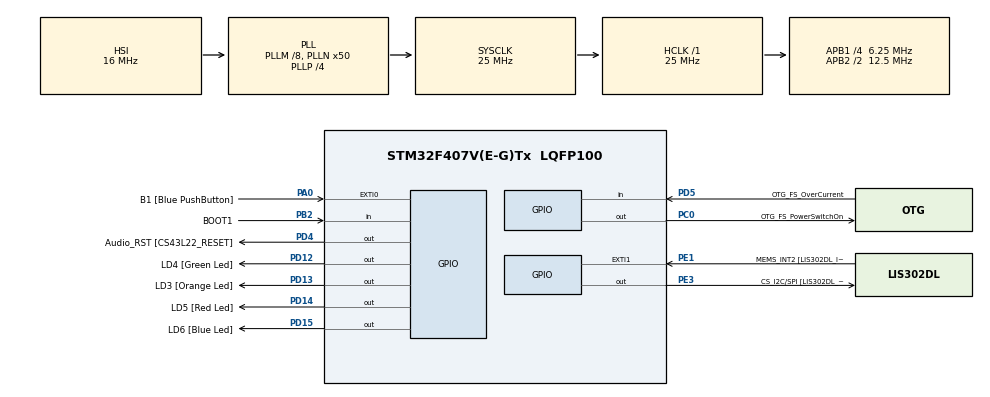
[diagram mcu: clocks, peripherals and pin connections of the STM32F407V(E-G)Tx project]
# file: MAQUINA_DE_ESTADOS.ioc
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Mcu.Family=STM32F4
Mcu.Name=STM32F407V(E-G)Tx
Mcu.Package=LQFP100
NVIC.PriorityGroup=NVIC_PRIORITYGROUP_0
PA0-WKUP.GPIO_Label=B1 [Blue PushButton]
PA0-WKUP.Signal=GPXTI0
PA10.GPIO_Label=OTG_FS_ID
PA10.GPIO_Mode=GPIO_MODE_AF_PP
PA10.GPIO_PuPd=GPIO_NOPULL
PA10.GPIO_Speed=GPIO_SPEED_FREQ_LOW
PA10.Signal=USB_OTG_FS_ID
PA11.GPIO_Label=OTG_FS_DM
PA11.GPIO_Mode=GPIO_MODE_AF_PP
PA11.GPIO_PuPd=GPIO_NOPULL
PA11.GPIO_Speed=GPIO_SPEED_FREQ_LOW
PA11.Signal=USB_OTG_FS_DM
PA12.GPIO_Label=OTG_FS_DP
PA12.GPIO_Mode=GPIO_MODE_AF_PP
PA12.GPIO_PuPd=GPIO_NOPULL
PA12.GPIO_Speed=GPIO_SPEED_FREQ_LOW
PA12.Signal=USB_OTG_FS_DP
PA13.GPIO_Label=SWDIO
PA13.Signal=SYS_JTMS-SWDIO
PA14.GPIO_Label=SWCLK
PA14.Signal=SYS_JTCK-SWCLK
PA4.GPIO_Label=I2S3_WS [CS43L22_LRCK]
PA4.GPIO_Mode=GPIO_MODE_AF_PP
PA4.GPIO_PuPd=GPIO_NOPULL
PA4.GPIO_Speed=GPIO_SPEED_FREQ_LOW
PA4.Signal=I2S3_WS
PA5.GPIO_Label=SPI1_SCK [LIS302DL_SCL/SPC]
PA5.GPIO_Mode=GPIO_MODE_AF_PP
PA5.GPIO_PuPd=GPIO_NOPULL
PA5.GPIO_Speed=GPIO_SPEED_FREQ_LOW
PA5.Signal=SPI1_SCK
PA6.GPIO_Label=SPI1_MISO [LIS302DL_SDO]
PA6.GPIO_Mode=GPIO_MODE_AF_PP
PA6.GPIO_PuPd=GPIO_NOPULL
PA6.GPIO_Speed=GPIO_SPEED_FREQ_LOW
PA6.Signal=SPI1_MISO
PA7.GPIO_Label=SPI1_MOSI [LIS302DL_SDA/SDI/SDO]
PA7.GPIO_Mode=GPIO_MODE_AF_PP
PA7.GPIO_PuPd=GPIO_NOPULL
PA7.GPIO_Speed=GPIO_SPEED_FREQ_LOW
PA7.Signal=SPI1_MOSI
PA9.GPIO_Label=VBUS_FS
PA9.GPIO_Mode=GPIO_MODE_INPUT
PA9.GPIO_PuPd=GPIO_NOPULL
PA9.Signal=USB_OTG_FS_VBUS
PB10.GPIO_Label=CLK_IN [MP45DT02_CLK]
PB10.GPIO_Mode=GPIO_MODE_AF_PP
PB10.GPIO_PuPd=GPIO_NOPULL
PB10.GPIO_Speed=GPIO_SPEED_FREQ_LOW
PB10.Signal=I2S2_CK
PB2.GPIO_Label=BOOT1
PB2.GPIO_Mode=GPIO_MODE_INPUT
PB2.GPIO_PuPd=GPIO_NOPULL
PB2.Signal=GPIO_Input
PB3.GPIO_Label=SWO
PB3.Signal=SYS_JTDO-SWO
PB6.GPIO_Label=Audio_SCL [CS43L22_SCL]
PB6.GPIO_Mode=GPIO_MODE_AF_OD
PB6.GPIO_PuPd=GPIO_NOPULL
PB6.GPIO_Speed=GPIO_SPEED_FREQ_LOW
PB6.Signal=I2C1_SCL
PB9.GPIO_Label=Audio_SDA [CS43L22_SDA]
PB9.GPIO_Mode=GPIO_MODE_AF_OD
PB9.GPIO_PuPd=GPIO_NOPULL
PB9.GPIO_Speed=GPIO_SPEED_FREQ_LOW
PB9.Signal=I2C1_SDA
PC0.GPIO_Label=OTG_FS_PowerSwitchOn
PC0.GPIO_PuPd=GPIO_NOPULL
PC0.GPIO_Speed=GPIO_SPEED_FREQ_LOW
PC0.PinState=GPIO_PIN_SET
PC0.Signal=GPIO_Output
PC10.GPIO_Label=I2S3_SCK [CS43L22_SCLK]
PC10.GPIO_Mode=GPIO_MODE_AF_PP
PC10.GPIO_PuPd=GPIO_NOPULL
PC10.GPIO_Speed=GPIO_SPEED_FREQ_LOW
PC10.Signal=I2S3_CK
PC12.GPIO_Label=I2S3_SD [CS43L22_SDIN]
PC12.GPIO_Mode=GPIO_MODE_AF_PP
PC12.GPIO_PuPd=GPIO_NOPULL
PC12.GPIO_Speed=GPIO_SPEED_FREQ_LOW
PC12.Signal=I2S3_SD
PC14-OSC32_IN.GPIO_Label=PC14-OSC32_IN
PC14-OSC32_IN.Signal=RCC_OSC32_IN
PC15-OSC32_OUT.GPIO_Label=PC15-OSC32_OUT
PC15-OSC32_OUT.Signal=RCC_OSC32_OUT
PC3.GPIO_Label=PDM_OUT [MP45DT02_DOUT]
PC3.GPIO_Mode=GPIO_MODE_AF_PP
PC3.GPIO_PuPd=GPIO_NOPULL
PC3.GPIO_Speed=GPIO_SPEED_FREQ_LOW
PC3.Signal=I2S2_SD
PC7.GPIO_Label=I2S3_MCK [CS43L22_MCLK]
PC7.GPIO_Mode=GPIO_MODE_AF_PP
PC7.GPIO_PuPd=GPIO_NOPULL
PC7.GPIO_Speed=GPIO_SPEED_FREQ_LOW
PC7.Signal=I2S3_MCK
PD12.GPIO_Label=LD4 [Green Led]
PD12.GPIO_PuPd=GPIO_NOPULL
PD12.GPIO_Speed=GPIO_SPEED_FREQ_LOW
PD12.Signal=GPIO_Output
PD13.GPIO_Label=LD3 [Orange Led]
PD13.GPIO_PuPd=GPIO_NOPULL
PD13.GPIO_Speed=GPIO_SPEED_FREQ_LOW
PD13.Signal=GPIO_Output
PD14.GPIO_Label=LD5 [Red Led]
PD14.GPIO_PuPd=GPIO_NOPULL
PD14.GPIO_Speed=GPIO_SPEED_FREQ_LOW
PD14.Signal=GPIO_Output
PD15.GPIO_Label=LD6 [Blue Led]
PD15.GPIO_PuPd=GPIO_NOPULL
PD15.GPIO_Speed=GPIO_SPEED_FREQ_LOW
PD15.Signal=GPIO_Output
PD4.GPIO_Label=Audio_RST [CS43L22_RESET]
PD4.GPIO_PuPd=GPIO_NOPULL
PD4.GPIO_Speed=GPIO_SPEED_FREQ_LOW
PD4.Signal=GPIO_Output
PD5.GPIO_Label=OTG_FS_OverCurrent
PD5.GPIO_Mode=GPIO_MODE_INPUT
PD5.GPIO_PuPd=GPIO_NOPULL
PD5.Signal=GPIO_Input
PE1.GPIO_Label=MEMS_INT2 [LIS302DL_INT2]
PE1.GPIO_ModeDefaultEXTI=GPIO_MODE_EVT_RISING
PE1.GPIO_PuPd=GPIO_NOPULL
PE1.Signal=GPXTI1
PE3.GPIO_Label=CS_I2C/SPI [LIS302DL_CS_I2C/SPI]
PE3.GPIO_PuPd=GPIO_NOPULL
PE3.GPIO_Speed=GPIO_SPEED_FREQ_LOW
PE3.Signal=GPIO_Output
PH0-OSC_IN.GPIO_Label=PH0-OSC_IN
PH0-OSC_IN.Signal=RCC_OSC_IN
PH1-OSC_OUT.GPIO_Label=PH1-OSC_OUT
PH1-OSC_OUT.Signal=RCC_OSC_OUT
ProjectManager.HeapSize=0x200
ProjectManager.StackSize=0x400
ProjectManager.TargetToolchain=EWARM V8.50
RCC.48MHZClocksFreq_Value=14285714.285714285
RCC.AHBFreq_Value=25000000
RCC.APB1CLKDivider=RCC_HCLK_DIV4
RCC.APB1Freq_Value=6250000
RCC.APB1TimFreq_Value=12500000
RCC.APB2CLKDivider=RCC_HCLK_DIV2
RCC.APB2Freq_Value=12500000
RCC.APB2TimFreq_Value=25000000
RCC.CortexFreq_Value=25000000
RCC.HCLKFreq_Value=25000000
RCC.HSE_VALUE=8000000
RCC.HSI_VALUE=16000000
RCC.LSE_VALUE=32768
RCC.PLLM=8
RCC.PLLN=50
RCC.PLLP=RCC_PLLP_DIV4
RCC.PLLQ=7
RCC.SYSCLKFreq_VALUE=25000000
RCC.SYSCLKSource=RCC_SYSCLKSOURCE_PLLCLK
RCC.VCOOutputFreq_Value=100000000
board=STM32F407G-DISC1

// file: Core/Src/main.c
/* USER CODE BEGIN Header */
/**
  ******************************************************************************
  * @file           : main.c
  * @brief          : Main program body
  ******************************************************************************
  * @attention
  *
  * Copyright (c) 2026 STMicroelectronics.
  * All rights reserved.
  *
  * This software is licensed under terms that can be found in the LICENSE file
  * in the root directory of this software component.
  * If no LICENSE file comes with this software, it is provided AS-IS.
  *
  ******************************************************************************
  */
/* USER CODE END Header */
#include "main.h"

/* USER CODE BEGIN Includes */

// INCLUYO libreria para números aleatorios
#include <stdlib.h>

/* USER CODE END Includes */

/* USER CODE BEGIN PV */

// MEMORIA debe ser una matriz de 9x5
// donde en los bordes tengo ceros, esto es para simplificar la logica de END_GAME

//		C0	C1	C2	C3	C4	C5
//	F1	0	x	x	x	x	0
//	F2	0	x	x	x	x	0
//	F3	0	x	x	x	x	0
//	F4	0	x	x	x	x	0
//	F5	0	x	x	x	x	0
//	F6	0	x	x	x	x	0
//	F7	0	x	x	x	x	0
//	F8	0	x	x	x	x	0
//	F9	0	0	0	0	0	0

//	ESTADO elije en que estado de la maquina esta
//	0	menu
//	1	P1 y P2
//	2	TRANSICION
//	3	CPU
//	4	END GAME
//	5	TRANSICION_END_GAME
uint8_t ESTADO = 0;

// Si hay ganador
//GANA = 0 NO FIN
//GANA = 1 P1
//GANA = 2 P2 O CPU
//GANA = 3 EMPATE
uint8_t GANA = 0;

// Para MEMORIA y LEDs
uint8_t FILA = 1;
uint8_t COLUMNA;

//	QUIEN JUEGA, solo define el color de la ficha
//	0	P1
//	1	P2
bool TURNO_JUGADOR = 0;
// CPU no tiene un turno, es un cambio a otro estado

// si CPU = 0 juega P2; si CPU = 1, juega CPU
bool CPU = 0;

// CPU_DIFF elijo dificultad de CPU
//	1	random
//	2	facil
//	3	dificil???
uint8_t CPU_DIFF = 1;

// SE crea un numero aleatorio para DIFF 1 de CPU
uint8_t ALEATORIO;

// Por ahora color es un integer, luego vemos
uint8_t COLOR_P1 = 0;
uint8_t COLOR_P2 = 1;

// BORRAR DESPUES ES DE MODULO TECLADO
uint8_t Teclado_Accionado = 16;
uint8_t teclado_column = 0;

/* USER CODE END PV */

void SystemClock_Config(void);
static void MX_GPIO_Init(void);
/* USER CODE BEGIN PFP */
void MENU(void);
void PLAYER(void);
void TRANSICION(void);
void INICIO_JUEGO(void);
void CPU(void);
void END_GAME(void);
void JUGADA_ACEPTADA(void);
void TRANSICION_END_GAME(void);

/* USER CODE END PFP */

int main(void)
{

  /* MCU Configuration--------------------------------------------------------*/

  /* Reset of all peripherals, Initializes the Flash interface and the Systick. */
  HAL_Init();

  /* Configure the system clock */
  SystemClock_Config();

  /* Initialize all configured peripherals */
  MX_GPIO_Init();
  /* USER CODE BEGIN 2 */

  TECLADO_INTERRUPT_FLAG = 1;

  /* USER CODE END 2 */

  /* Infinite loop */
  while (1)
  {

    /* USER CODE BEGIN 3 */
	  switch (ESTADO)
	  {
	      case 0:
	          MENU();
	          break;

	      case 1:
	          PLAYER();
	          break;

	      case 2:
	          TRANSICION();
	          break;

	      case 3:
	          CPU();
	          break;

	      case 4:
	          END_GAME();
	          break;

	      case 5:
	          TRANSICION_END_GAME();
	          break;
	  }

  }
  /* USER CODE END 3 */
}

void SystemClock_Config(void)
{
  RCC_OscInitTypeDef RCC_OscInitStruct = {0};
  RCC_ClkInitTypeDef RCC_ClkInitStruct = {0};

  /** Configure the main internal regulator output voltage
  */
  __HAL_RCC_PWR_CLK_ENABLE();
  __HAL_PWR_VOLTAGESCALING_CONFIG(PWR_REGULATOR_VOLTAGE_SCALE1);

  /** Initializes the RCC Oscillators according to the specified parameters
  * in the RCC_OscInitTypeDef structure.
  */
  RCC_OscInitStruct.OscillatorType = RCC_OSCILLATORTYPE_HSI;
  RCC_OscInitStruct.HSIState = RCC_HSI_ON;
  RCC_OscInitStruct.HSICalibrationValue = RCC_HSICALIBRATION_DEFAULT;
  RCC_OscInitStruct.PLL.PLLState = RCC_PLL_ON;
  RCC_OscInitStruct.PLL.PLLSource = RCC_PLLSOURCE_HSI;
  RCC_OscInitStruct.PLL.PLLM = 8;
  RCC_OscInitStruct.PLL.PLLN = 50;
  RCC_OscInitStruct.PLL.PLLP = RCC_PLLP_DIV4;
  RCC_OscInitStruct.PLL.PLLQ = 7;
  if (HAL_RCC_OscConfig(&RCC_OscInitStruct) != HAL_OK)
  {
    Error_Handler();
  }

  /** Initializes the CPU, AHB and APB buses clocks
  */
  RCC_ClkInitStruct.ClockType = RCC_CLOCKTYPE_HCLK|RCC_CLOCKTYPE_SYSCLK
                              |RCC_CLOCKTYPE_PCLK1|RCC_CLOCKTYPE_PCLK2;
  RCC_ClkInitStruct.SYSCLKSource = RCC_SYSCLKSOURCE_PLLCLK;
  RCC_ClkInitStruct.AHBCLKDivider = RCC_SYSCLK_DIV1;
  RCC_ClkInitStruct.APB1CLKDivider = RCC_HCLK_DIV4;
  RCC_ClkInitStruct.APB2CLKDivider = RCC_HCLK_DIV2;

  if (HAL_RCC_ClockConfig(&RCC_ClkInitStruct, FLASH_LATENCY_0) != HAL_OK)
  {
    Error_Handler();
  }
}

static void MX_GPIO_Init(void)
{
  GPIO_InitTypeDef GPIO_InitStruct = {0};

  /* GPIO Ports Clock Enable */
  __HAL_RCC_GPIOE_CLK_ENABLE();
  __HAL_RCC_GPIOC_CLK_ENABLE();
  __HAL_RCC_GPIOH_CLK_ENABLE();
  __HAL_RCC_GPIOA_CLK_ENABLE();
  __HAL_RCC_GPIOB_CLK_ENABLE();
  __HAL_RCC_GPIOD_CLK_ENABLE();

  /*Configure GPIO pin Output Level */
  HAL_GPIO_WritePin(CS_I2C_SPI_GPIO_Port, CS_I2C_SPI_Pin, GPIO_PIN_RESET);

  /*Configure GPIO pin Output Level */
  HAL_GPIO_WritePin(OTG_FS_PowerSwitchOn_GPIO_Port, OTG_FS_PowerSwitchOn_Pin, GPIO_PIN_SET);

  /*Configure GPIO pin Output Level */
  HAL_GPIO_WritePin(GPIOD, LD4_Pin|LD3_Pin|LD5_Pin|LD6_Pin
                          |Audio_RST_Pin, GPIO_PIN_RESET);

  /*Configure GPIO pin : CS_I2C_SPI_Pin */
  GPIO_InitStruct.Pin = CS_I2C_SPI_Pin;
  GPIO_InitStruct.Mode = GPIO_MODE_OUTPUT_PP;
  GPIO_InitStruct.Pull = GPIO_NOPULL;
  GPIO_InitStruct.Speed = GPIO_SPEED_FREQ_LOW;
  HAL_GPIO_Init(CS_I2C_SPI_GPIO_Port, &GPIO_InitStruct);

  /*Configure GPIO pin : OTG_FS_PowerSwitchOn_Pin */
  GPIO_InitStruct.Pin = OTG_FS_PowerSwitchOn_Pin;
  GPIO_InitStruct.Mode = GPIO_MODE_OUTPUT_PP;
  GPIO_InitStruct.Pull = GPIO_NOPULL;
  GPIO_InitStruct.Speed = GPIO_SPEED_FREQ_LOW;
  HAL_GPIO_Init(OTG_FS_PowerSwitchOn_GPIO_Port, &GPIO_InitStruct);

  /*Configure GPIO pin : PDM_OUT_Pin */
  GPIO_InitStruct.Pin = PDM_OUT_Pin;
  GPIO_InitStruct.Mode = GPIO_MODE_AF_PP;
  GPIO_InitStruct.Pull = GPIO_NOPULL;
  GPIO_InitStruct.Speed = GPIO_SPEED_FREQ_LOW;
  GPIO_InitStruct.Alternate = GPIO_AF5_SPI2;
  HAL_GPIO_Init(PDM_OUT_GPIO_Port, &GPIO_InitStruct);

  /*Configure GPIO pin : B1_Pin */
  GPIO_InitStruct.Pin = B1_Pin;
  GPIO_InitStruct.Mode = GPIO_MODE_IT_RISING;
  GPIO_InitStruct.Pull = GPIO_NOPULL;
  HAL_GPIO_Init(B1_GPIO_Port, &GPIO_InitStruct);

  /*Configure GPIO pin : I2S3_WS_Pin */
  GPIO_InitStruct.Pin = I2S3_WS_Pin;
  GPIO_InitStruct.Mode = GPIO_MODE_AF_PP;
  GPIO_InitStruct.Pull = GPIO_NOPULL;
  GPIO_InitStruct.Speed = GPIO_SPEED_FREQ_LOW;
  GPIO_InitStruct.Alternate = GPIO_AF6_SPI3;
  HAL_GPIO_Init(I2S3_WS_GPIO_Port, &GPIO_InitStruct);

  /*Configure GPIO pins : SPI1_SCK_Pin SPI1_MISO_Pin SPI1_MOSI_Pin */
  GPIO_InitStruct.Pin = SPI1_SCK_Pin|SPI1_MISO_Pin|SPI1_MOSI_Pin;
  GPIO_InitStruct.Mode = GPIO_MODE_AF_PP;
  GPIO_InitStruct.Pull = GPIO_NOPULL;
  GPIO_InitStruct.Speed = GPIO_SPEED_FREQ_LOW;
  GPIO_InitStruct.Alternate = GPIO_AF5_SPI1;
  HAL_GPIO_Init(GPIOA, &GPIO_InitStruct);

  /*Configure GPIO pin : BOOT1_Pin */
  GPIO_InitStruct.Pin = BOOT1_Pin;
  GPIO_InitStruct.Mode = GPIO_MODE_INPUT;
  GPIO_InitStruct.Pull = GPIO_NOPULL;
  HAL_GPIO_Init(BOOT1_GPIO_Port, &GPIO_InitStruct);

  /*Configure GPIO pin : CLK_IN_Pin */
  GPIO_InitStruct.Pin = CLK_IN_Pin;
  GPIO_InitStruct.Mode = GPIO_MODE_AF_PP;
  GPIO_InitStruct.Pull = GPIO_NOPULL;
  GPIO_InitStruct.Speed = GPIO_SPEED_FREQ_LOW;
  GPIO_InitStruct.Alternate = GPIO_AF5_SPI2;
  HAL_GPIO_Init(CLK_IN_GPIO_Port, &GPIO_InitStruct);

  /*Configure GPIO pins : LD4_Pin LD3_Pin LD5_Pin LD6_Pin
                           Audio_RST_Pin */
  GPIO_InitStruct.Pin = LD4_Pin|LD3_Pin|LD5_Pin|LD6_Pin
                          |Audio_RST_Pin;
  GPIO_InitStruct.Mode = GPIO_MODE_OUTPUT_PP;
  GPIO_InitStruct.Pull = GPIO_NOPULL;
  GPIO_InitStruct.Speed = GPIO_SPEED_FREQ_LOW;
  HAL_GPIO_Init(GPIOD, &GPIO_InitStruct);

  /*Configure GPIO pins : I2S3_MCK_Pin I2S3_SCK_Pin I2S3_SD_Pin */
  GPIO_InitStruct.Pin = I2S3_MCK_Pin|I2S3_SCK_Pin|I2S3_SD_Pin;
  GPIO_InitStruct.Mode = GPIO_MODE_AF_PP;
  GPIO_InitStruct.Pull = GPIO_NOPULL;
  GPIO_InitStruct.Speed = GPIO_SPEED_FREQ_LOW;
  GPIO_InitStruct.Alternate = GPIO_AF6_SPI3;
  HAL_GPIO_Init(GPIOC, &GPIO_InitStruct);

  /*Configure GPIO pin : VBUS_FS_Pin */
  GPIO_InitStruct.Pin = VBUS_FS_Pin;
  GPIO_InitStruct.Mode = GPIO_MODE_INPUT;
  GPIO_InitStruct.Pull = GPIO_NOPULL;
  HAL_GPIO_Init(VBUS_FS_GPIO_Port, &GPIO_InitStruct);

  /*Configure GPIO pins : OTG_FS_ID_Pin OTG_FS_DM_Pin OTG_FS_DP_Pin */
  GPIO_InitStruct.Pin = OTG_FS_ID_Pin|OTG_FS_DM_Pin|OTG_FS_DP_Pin;
  GPIO_InitStruct.Mode = GPIO_MODE_AF_PP;
  GPIO_InitStruct.Pull = GPIO_NOPULL;
  GPIO_InitStruct.Speed = GPIO_SPEED_FREQ_LOW;
  GPIO_InitStruct.Alternate = GPIO_AF10_OTG_FS;
  HAL_GPIO_Init(GPIOA, &GPIO_InitStruct);

  /*Configure GPIO pin : OTG_FS_OverCurrent_Pin */
  GPIO_InitStruct.Pin = OTG_FS_OverCurrent_Pin;
  GPIO_InitStruct.Mode = GPIO_MODE_INPUT;
  GPIO_InitStruct.Pull = GPIO_NOPULL;
  HAL_GPIO_Init(OTG_FS_OverCurrent_GPIO_Port, &GPIO_InitStruct);

  /*Configure GPIO pins : Audio_SCL_Pin Audio_SDA_Pin */
  GPIO_InitStruct.Pin = Audio_SCL_Pin|Audio_SDA_Pin;
  GPIO_InitStruct.Mode = GPIO_MODE_AF_OD;
  GPIO_InitStruct.Pull = GPIO_NOPULL;
  GPIO_InitStruct.Speed = GPIO_SPEED_FREQ_LOW;
  GPIO_InitStruct.Alternate = GPIO_AF4_I2C1;
  HAL_GPIO_Init(GPIOB, &GPIO_InitStruct);

  /*Configure GPIO pin : MEMS_INT2_Pin */
  GPIO_InitStruct.Pin = MEMS_INT2_Pin;
  GPIO_InitStruct.Mode = GPIO_MODE_EVT_RISING;
  GPIO_InitStruct.Pull = GPIO_NOPULL;
  HAL_GPIO_Init(MEMS_INT2_GPIO_Port, &GPIO_InitStruct);

}

/* USER CODE BEGIN 4 */

// DEFINO ESTADO MENU Y SU INTERACCION CON TECLADO Y BUZZER
// Ver si agregar INTERFAZ de USUARIO
void MENU(void)
{

	// Observa COLUMNA llamada por TECLADO
	VERIFICAR_TECLA(teclado_column);

	switch(Teclado_Accionado)
	{
	// Si es 16 entonces no hace nada
	case 16: return;

	// Si es distinto a alguna accion de teclado valida en MENU entonces teclado = 16
	default:
		{
			//buzzer
			Teclado_Accionado = 16;

		}break;

	// Elije si CPU activo o no
	case 4:
		{
			//buzzer
			CPU = !CPU;

		}break;

	// Elije diff de CPU
	case 5:
		{
			//buzzer
			CPU_DIFF = 1;

		}break;
	case 6:
		{
			//buzzer
			CPU_DIFF = 2;

		}break;
	case 7:
		{
			//buzzer
			CPU_DIFF = 3;

		}break;

	// CAMBIA DE ESTADO A P1
	case 8:
		{
			//buzzer
			ESTADO = 1;

		}break;

	// Cambia color P1 y P2, ponele q son 3, subida
	case 10:
		{
			//buzzer
			if (COLOR_P1 < 3) COLOR_P1++;
			else COLOR_P1 = 0;

		}break;
	case 14:
		{
			//buzzer
			if (COLOR_P2 < 3) COLOR_P2++;
			else COLOR_P2 = 0;

		}break;
	// Cambia color P1 y P2, bajada
	case 9:
		{
			//buzzer
			if (COLOR_P1 > 0) COLOR_P1--;
			else COLOR_P1 = 2;

		}break;

	case 13:
		{
			//buzzer
			if (COLOR_P2 > 0) COLOR_P2--;
			else COLOR_P2 = 2;

		}break;

	} //END SWITCH

	teclado_column = 0;
	Teclado_Accionado = 16;

	if (ESTADO = 1)	INICIO_JUEGO();

}

void PLAYER(void)
{
	FILA = 1;
	VERIFICAR_TECLA(teclado_column);

	switch(Teclado_Accionado)
	{
		// Si es 16 entonces no hace nada
		case 16: return;

		// Si es distinto a alguna accion de teclado valida en PLAYER entonces teclado = 16
		default:
		{
			//buzzer
			Teclado_Accionado = 16;

		}break;
		// Selecciona COLUMNA 1
		case 0:
		{
			//buzzer
			COLUMNA = 1;

		}break;
		// Selecciona COLUMNA 2
		case 1:
		{
			//buzzer
			COLUMNA = 2;

		}break;
		// Selecciona COLUMNA 3
		case 2:
		{
			//buzzer
			COLUMNA = 3;

		}break;
		// Selecciona COLUMNA 4
		case 3:
		{
			//buzzer
			COLUMNA = 4;

		}break;

		// Confirmar Jugada
		case 8:
		{
			//buzzer
			ESTADO = 2;

		}break;

		// RESET
		case 12:
		{
			//buzzer
			ESTADO = 5;

		}break;
	} // FIN SWITCH

	teclado_column = 0;
	Teclado_Accionado = 16;
}

// ACA VA LA LOGICA DEL JUEGO, DECIDE SI JUGADOR HACE JUGADA VALIDA, SI HACE ANIMACION DE TRANSICION, SI PASA A P2
// SI PASA A CPU O SI VUELVE A P1, O SI FINALIZA EL JUEGO,TODO JUNTO
// aca por ahi si, se introduce una variable matriz de la posicion de las jugadas
void TRANSICION(void)
{
//	color(TURNO_JUGADOR);
	if ( MEMORIA(FILA,COLUMNA) != 0 )
	{
		//JUGADA INVALIDA

		//buzzer
		ESTADO = 1;
		return;
	}
	else
	{
		//JUGADA VALIDADA

		//buzzer
		JUGADA_ACEPTADA();
	}

}

void INICIO_JUEGO(void)
{
	// aca hago algo con los LED para que pase un tiempito
	// es inicio de juego
}

void JUGADA_ACEPTADA(void)
{
    while (1)
    {
        ENCIENDE_LED(FILA, COLUMNA);

        FILA++;

        if ( (MEMORIA(FILA, COLUMNA) != 0) || (FILA > 8) )
        {
        	FILA = 1;
            ESTADO = 4;
            return;
        }

        FILA--;
        APAGA_LED(FILA, COLUMNA);
        FILA++;
    }
}

void END_GAME(void)
{
	//SI ALGUIEN GANA
	for (FILA = 0; FILA < 8; FILA++)
	{
		for (COLUMNA = 0; COLUMNA < 4; COLUMNA++)
		{
			if (MEMORIA(FILA,COLUMNA) != 0)
			{
				if (
						((MEMORIA(FILA+1,COLUMNA)   == MEMORIA(FILA,COLUMNA)) && (MEMORIA(FILA+1,COLUMNA)   == MEMORIA(FILA,COLUMNA))) || // Vertical
						((MEMORIA(FILA-1,COLUMNA-1) == MEMORIA(FILA,COLUMNA)) && (MEMORIA(FILA+1,COLUMNA+1) == MEMORIA(FILA,COLUMNA))) || 		// Diagonal
						((MEMORIA(FILA,COLUMNA-1)   == MEMORIA(FILA,COLUMNA)) && (MEMORIA(FILA,COLUMNA+1)   == MEMORIA(FILA,COLUMNA))) || // Horizontal
						((MEMORIA(FILA+1,COLUMNA-1) == MEMORIA(FILA,COLUMNA)) && (MEMORIA(FILA-1,COLUMNA+1) == MEMORIA(FILA,COLUMNA)))    // Diagonal /
				)
				{
					//buzzer
					GANA = MEMORIA(FILA,COLUMNA);
					ESTADO = 5;
				}
			}
		}
	}

	// SI HAY EMPATE
	if ( (MEMORIA(0,0) != 0) && (MEMORIA(0,1) != 0) && (MEMORIA(0,2) != 0) && (MEMORIA(0,3) != 0) )
	{
		//buzzer
		GANA = 3;
		ESTADO = 5;
	}

	//SI NO ES FIN DE JUEGO
	//Si CPU = 0 entonces cambia de turno entre P1 y P2
	//Si CPU = 1 entonces mantiene el turno pero salta a estado de juego de CPU
	if (CPU == 0)
	{
		TURNO_JUGADOR = !TURNO_JUGADOR;
		ESTADO = 1;
	}
	else ESTADO = 3;

}

void TRANSICION_END_GAME(void)
{
	Teclado_Accionado = 16;

	while (Teclado_Accionado == 16)
	{
		VERIFICAR_TECLA(teclado_column)
					if (GANA == 1)
					{
						//ANIMACION P1
					}
					else if (GANA == 2)
					{
						//ANIMACION P2 O CPU
					}
					else if (GANA == 3)
					{
						//ANIMACION EMPATE
					}
					else  //(GANA == 0) RESET
					{
						//ANIMACION RESET
					}
	}
	ESTADO = 0;
	INICIO_JUEGO();

}

void CPU(void)
{
	TURNO_JUGADOR = !TURNO_JUGADOR;

	// TODAVIA DIFF 1 NO ESTA HABILITADA, ERROR AL VOLVER POR PLAYER 1
	if (CPU_DIFF == 1)
	{
		srand(HAL_GetTick());
		ALEATORIO = (rand() % 4) + 1;

		COLUMNA = ALEATORIO;
	}

	else if (CPU_DIFF == 2)
	{

	}

	TURNO_JUGADOR = !TURNO_JUGADOR;
	//ESTO DEPENDE DE COMO HAGA DIFF 1
	ESTADO = 1;

}

/* USER CODE END 4 */

void Error_Handler(void)
{
  __disable_irq();
  while (1)
  {
  }
}
